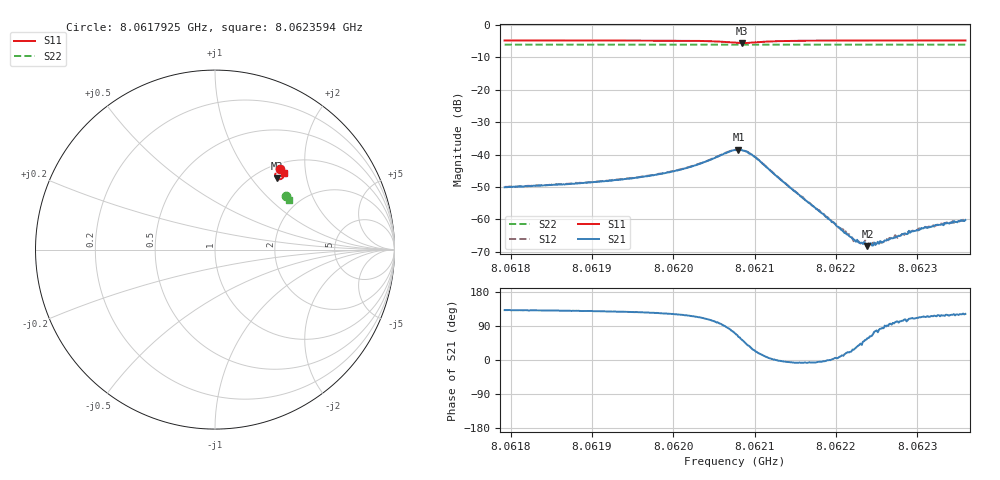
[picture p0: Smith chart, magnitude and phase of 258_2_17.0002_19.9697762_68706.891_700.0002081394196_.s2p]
#  HZ  S  RI  R  50.00
! Rohde & Schwarz Vector Network Analyzer
! Rohde-Schwarz,ZNB20-2Port,1311601062101988,3.16
! Created: UTC 3/20/2024, 11:03:40 PM
! freq[Hz]  re:S11  im:S11  re:S21  im:S21  re:S12  im:S12  re:S22  im:S22
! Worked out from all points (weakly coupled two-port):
!   401 points, 8.0617925 GHz to 8.0623594 GHz, reference 50 ohm
!   highest |S21| = -38.50 dB at 8.0620802 GHz (marker M1); lowest = -68.2 dB at 8.0622389 GHz (marker M2)
!   lowest |S11| = -5.6 dB at 8.0620845 GHz (marker M3), VSWR 3.21, Z = 61.7 + j67.6 ohm
!   |S11| at or under -10 dB: nowhere
!   |S22| runs from -6.1 to -6.1 dB; largest |S21 - S12| = 0.00089
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8.06179254e9  0.3636 0.4465  -0.00207 0.00233  -0.00195 0.0025  0.3951 0.3014
8.06188748e9  0.3704 0.4404  -0.0023 0.00281  -0.00217 0.00296  0.3986 0.2966
8.061947e9  0.3753 0.4353  -0.00256 0.00342  -0.00238 0.00362  0.4006 0.2936
8.06198243e9  0.3787 0.4305  -0.00275 0.00415  -0.00255 0.00436  0.4018 0.2917
8.06202352e9  0.3825 0.4208  -0.00285 0.00593  -0.00253 0.00614  0.4032 0.2892
8.06206603e9  0.3721 0.3955  0.000771 0.0107  0.00147 0.0108  0.4037 0.2863
8.06207595e9  0.3584 0.3916  0.00389 0.011  0.00465 0.0109  0.4031 0.2859
8.0620802e9  0.3514 0.3929  0.00572 0.0104  0.00619 0.0102  0.403 0.2858
8.06208445e9  0.3446 0.3964  0.00701 0.00934  0.00762 0.00902  0.403 0.2859
8.06209295e9  0.3364 0.4084  0.00828 0.00637  0.00892 0.00587  0.4032 0.2862
8.06210287e9  0.3366 0.4231  0.00815 0.00311  0.00829 0.00257  0.4036 0.2863
8.06213263e9  0.354 0.4387  0.00403 -0.000192  0.00406 -0.000464  0.4057 0.2854
8.06217089e9  0.3669 0.4386  0.00163 -0.00018  0.00161 -0.000259  0.4075 0.2834
8.06220773e9  0.3734 0.4361  0.000662 0.000146  0.000706 9.04e-05  0.4088 0.2815
8.06222332e9  0.3752 0.4351  0.00041 0.000236  0.000453 0.000219  0.4094 0.2806
8.06222757e9  0.3759 0.4347  0.000351 0.000274  0.000387 0.000255  0.4097 0.2804
8.06223891e9  0.377 0.4339  0.000208 0.000329  0.000241 0.000317  0.41 0.2798
8.06224741e9  0.378 0.4334  0.000115 0.000421  0.000144 0.000383  0.4103 0.2793
8.06225308e9  0.3787 0.433  7.59e-05 0.000415  0.000111 0.000415  0.4104 0.279
8.06226583e9  0.3798 0.4322  -4.51e-05 0.000491  -1.55e-05 0.000515  0.411 0.2784
8.06230834e9  0.3834 0.4296  -0.00031 0.00067  -0.000258 0.0007  0.4124 0.276
8.06235935e9  0.387 0.4266  -0.000512 0.000832  -0.000413 0.000868  0.4142 0.2736
